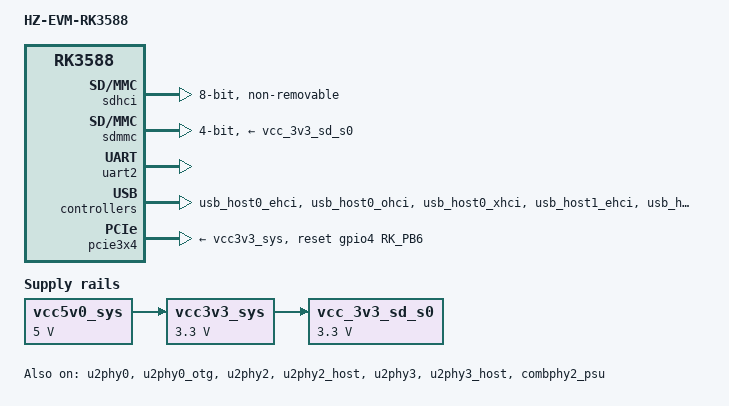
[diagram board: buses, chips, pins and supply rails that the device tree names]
// SPDX-License-Identifier: (GPL-2.0+ OR MIT)
/*
 * HZ-EVM-RK3588 (合众恒跃) U-Boot device tree
 *
 * This is the *U-Boot* device tree only, and must stay minimal: mainline
 * U-Boot ships a trimmed rk3588.dtsi (via dts/upstream) that does NOT
 * contain most kernel-only nodes (vop/gpu/tsadc/hdmi_receiver/...).
 * Anything referenced here must exist in the U-Boot tree.
 *
 * The full Linux kernel device tree lives separately in
 * patch/kernel/rk35xx-current/dt/rk3588-hz-evm-rk3588.dts
 */

/dts-v1/;

#include <dt-bindings/gpio/gpio.h>
#include <dt-bindings/pinctrl/rockchip.h>
#include "rk3588.dtsi"

/ {
	model = "HZ-EVM-RK3588";
	compatible = "hezuo,hz-evm-rk3588", "rockchip,rk3588";

	aliases {
		mmc0 = &sdmmc;
		mmc1 = &sdhci;
	};

	chosen {
		stdout-path = "serial2:1500000n8";
	};

	/* 5V main rail, always on */
	vcc5v0_sys: vcc5v0-sys {
		compatible = "regulator-fixed";
		regulator-name = "vcc5v0_sys";
		regulator-always-on;
		regulator-boot-on;
		regulator-min-microvolt = <5000000>;
		regulator-max-microvolt = <5000000>;
	};

	vcc3v3_sys: vcc3v3-sys {
		compatible = "regulator-fixed";
		regulator-name = "vcc3v3_sys";
		regulator-always-on;
		regulator-boot-on;
		regulator-min-microvolt = <3300000>;
		regulator-max-microvolt = <3300000>;
		vin-supply = <&vcc5v0_sys>;
	};

	vcc_3v3_sd_s0: vcc-3v3-sd-s0 {
		compatible = "regulator-fixed";
		regulator-name = "vcc_3v3_sd_s0";
		regulator-boot-on;
		regulator-min-microvolt = <3300000>;
		regulator-max-microvolt = <3300000>;
		vin-supply = <&vcc3v3_sys>;
	};
};

/* --- eMMC: boot device, bootph markers added in the -u-boot.dtsi --- */
&sdhci {
	bus-width = <8>;
	no-sdio;
	no-sd;
	non-removable;
	max-frequency = <200000000>;
	status = "okay";
};

/* --- SD card: primary recovery boot device --- */
&sdmmc {
	bus-width = <4>;
	cap-sd-highspeed;
	disable-wp;
	no-mmc;
	no-sdio;
	vmmc-supply = <&vcc_3v3_sd_s0>;
	status = "okay";
};

/* --- Debug UART2 (1500000n8) --- */
&uart2 {
	pinctrl-names = "default";
	pinctrl-0 = <&uart2m0_xfer>;
	status = "okay";
};

/*
 * NOTE: GMAC is intentionally left out of the U-Boot device tree.
 * Mainline U-Boot's trimmed rk3588 dtsi does not guarantee the gmac0
 * pinmux labels, and the board boots from SD/eMMC, so U-Boot networking
 * is not needed for bring-up. Add it later if TFTP boot is required.
 */

/* --- USB --- */
&u2phy0 {
	status = "okay";
};

&u2phy0_otg {
	status = "okay";
};

&u2phy2 {
	status = "okay";
};

&u2phy2_host {
	status = "okay";
};

&u2phy3 {
	status = "okay";
};

&u2phy3_host {
	status = "okay";
};

&usb_host0_ehci {
	status = "okay";
};

&usb_host0_ohci {
	status = "okay";
};

&usb_host0_xhci {
	status = "okay";
};

&usb_host1_ehci {
	status = "okay";
};

&usb_host1_ohci {
	status = "okay";
};

&usb_host1_xhci {
	status = "okay";
};

/* --- PCIe 3.0 x4 slot --- */
&pcie3x4 {
	reset-gpios = <&gpio4 RK_PB6 GPIO_ACTIVE_HIGH>;
	vpcie3v3-supply = <&vcc3v3_sys>;
	status = "okay";
};

&combphy2_psu {
	status = "okay";
};
